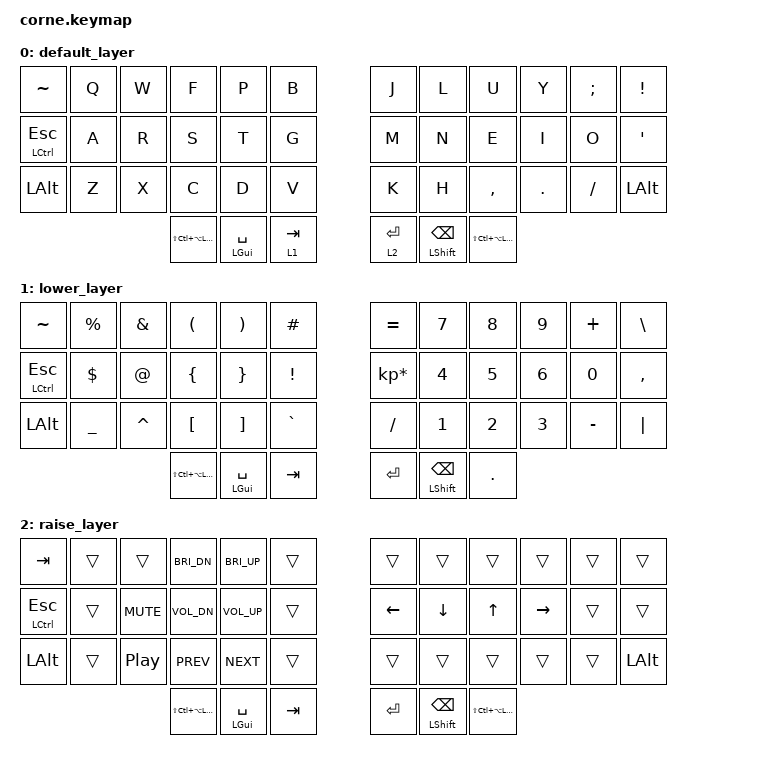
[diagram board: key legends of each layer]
/*
 * Copyright (c) 2020 The ZMK Contributors
 *
 * SPDX-License-Identifier: MIT
 */

#include <behaviors.dtsi>
#include <dt-bindings/zmk/keys.h>
#include <dt-bindings/zmk/bt.h>

#define HYP LS(LC(LA(LGUI)))

&lt {
    tapping-term-ms = <150>;
    quick-tap-ms = <150>;
    flavor = "hold-preferred";
};

&mt {
    tapping-term-ms = <150>;
    quick-tap-ms = <200>;
};

/ {
        behaviors {
                gqt: GLOBAL-QUICK-TAP {
                        compatible = "zmk,behavior-hold-tap";
                        label = "GLOBAL_QUICK_TAP";
                        #binding-cells = <2>;
                        flavor = "tap-preferred";
                        tapping-term-ms = <250>;
                        quick-tap-ms = <150>;
                        global-quick-tap;
                        bindings = <&kp>, <&kp>;
                };
        };
        keymap {
                compatible = "zmk,keymap";

                default_layer {
// | TAB |  Q  |  W  |  F  |  P  |  B  |   |  J  |  L  |  U  |  Y  |  ;  |  !  |
// | E/C |  A  |  R  |  S  |  T  |  G  |   |  M  |  N  |  E  |  I  |  O  |  '  |
// | HYP |  Z  |  X  |  C  |  D  |  V  |   |  K  |  H  |  ,  |  .  |  /  | ALT |
//               | CMD | SPC | TAB/UPR |   | ENT/LWR | BSPC/SHFT | SHFT |

                        bindings = <
   &kp TILDE       &kp Q &kp W &kp F &kp P &kp B      &kp J &kp L  &kp U     &kp Y   &kp SEMI   &kp EXCL
   &mt LCTRL ESC  &kp A &kp R &kp S &kp T &kp G      &kp M &kp N  &kp E     &kp I   &kp O      &kp SQT
   &kp LALT        &kp Z &kp X &kp C &kp D &kp V      &kp K &kp H  &kp COMMA &kp DOT &kp FSLH   &kp LALT
                   &kp HYP &gqt LGUI SPACE &lt 1 TAB      &lt 2 RET &mt LSHFT BSPC &kp HYP
                        >;
                };
                lower_layer {
// -----------------------------------------------------------------------------------------
// |  TAB |  %  |  &  |  (  |  )  |  #  |   |  =  |  7  |  8  |  9  |  +  |   \  |
// |  E/C |  $  |  @  |  {  |  }  |  !  |   |  *  |  4  |  5  |  6  |  0  |  "|" |
// |  LSHFT |  _  |  ^  |  [  |  ]  |  `  |   |  /  |  1  |  2  |  3  |  -  |  ALT |
//               | CMD | BSPC | TAB/UPR |   | ENT/LWR | SHFT  | DOT |

                        bindings = <
   &kp TILDE       &kp PRCNT &kp AMPS   &kp LPAR &kp RPAR &kp HASH         &kp EQUAL        &kp N7   &kp N8  &kp N9  &kp PLUS   &kp BSLH
   &mt LCTRL ESC  &kp DLLR  &kp AT     &kp LBRC &kp RBRC &kp EXCL         &kp KP_MULTIPLY  &kp N4   &kp N5  &kp N6  &kp N0     &kp COMMA
   &kp LALT        &kp UNDER &kp CARET  &kp LBKT &kp RBKT &kp GRAVE        &kp FSLH         &kp N1   &kp N2  &kp N3  &kp MINUS  &kp PIPE
                                        &kp HYP &gqt LGUI SPACE &kp TAB        &kp RET &mt LSHFT BSPC &kp DOT
                        >;
                };

                raise_layer {
// -----------------------------------------------------------------------------------------
// |  TAB |    |    |    |    |    |   |    |    |    |    |    | |
// | ESC  |     |     |     |     |     |   |  LFT  |  DWN  |  UP  |  RGT  |    |     |
// | SHFT |     |     |     |     |     |   |    |    |    |    |  |     |
//                    | GUI |     | SPC |   | ENT |     | ALT |

                        bindings = <
   &kp TAB        &trans &trans &kp C_BRI_DN   &kp C_BRI_UP  &trans      &trans    &trans    &trans  &trans    &trans  &trans
   &mt LCTRL ESC  &trans  &kp C_MUTE &kp C_VOL_DN   &kp C_VOL_UP  &trans      &kp LEFT  &kp DOWN  &kp UP  &kp RIGHT &trans  &trans
   &kp LALT         &trans  &kp C_PP   &kp C_PREV     &kp C_NEXT    &trans      &trans    &trans    &trans  &trans    &trans  &kp LALT
                                            &kp HYP &gqt LGUI SPACE  &kp TAB      &kp RET &mt LSHFT BSPC &kp HYP
                        >;
                };
        };
};
